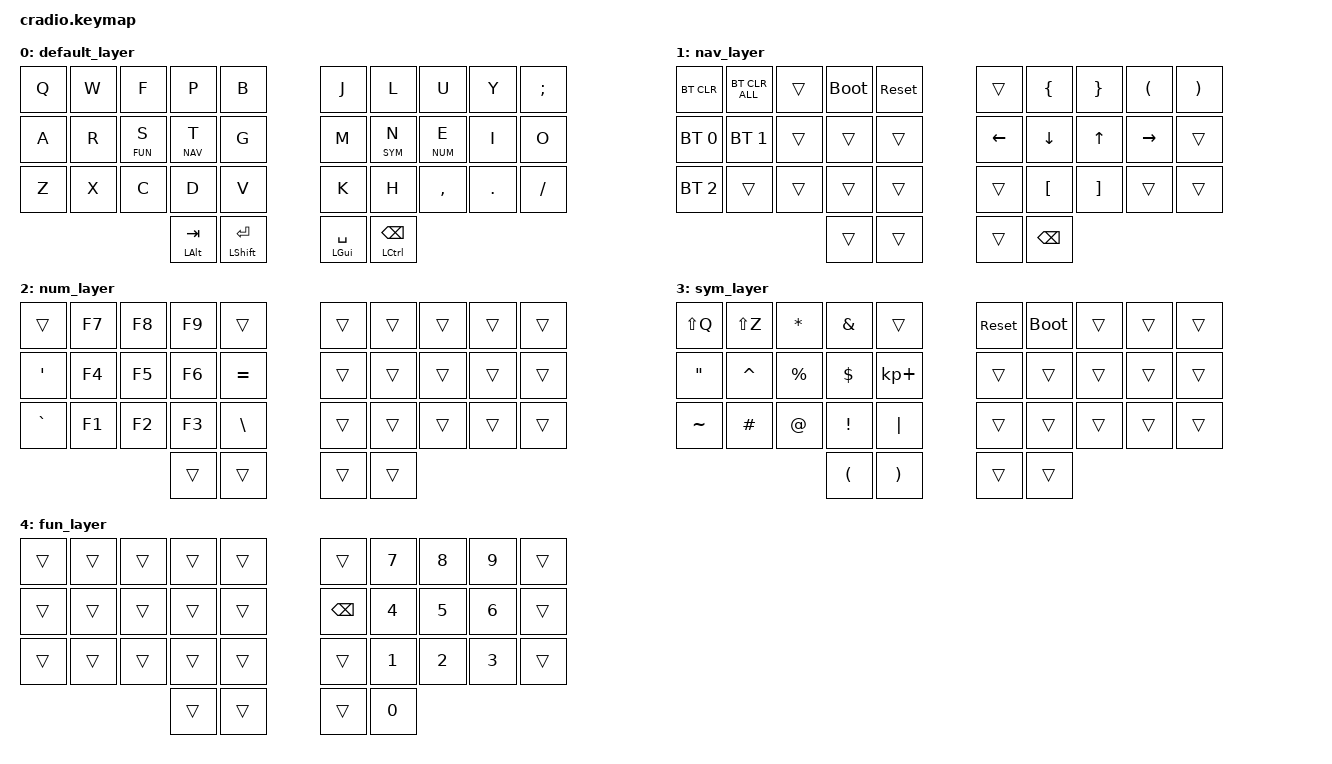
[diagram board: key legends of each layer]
/*
 * Copyright (c) 2020 The ZMK Contributors
 *
 * SPDX-License-Identifier: MIT
 */

#include <behaviors.dtsi>
#include <dt-bindings/zmk/keys.h>
#include <dt-bindings/zmk/bt.h>
#include <dt-bindings/zmk/keys.h>
#include <dt-bindings/zmk/outputs.h>
#include <behaviors.dtsi>

#define DEFAULT 0
#define NAV 1
#define NUM 2
#define SYM 3
#define FUN 4



&mt {
  flavor = "tap-preferred";
  tapping_term_ms = <200>;
  quick_tap_ms = <75>;
};


/ { 

    combos {
        compatible = "zmk,combos";
        combo_caps_word {
            timeout-ms = <100>;
            key-positions = <20 29>;
            bindings = <&caps_word>;
        };
        combo_esc {
            timeout-ms = <150>;
            key-positions = <12 13 16 17>;
            bindings = <&kp ESC>;
        };

        // (
        combo_lpar {
            timeout-ms = <150>;
            key-positions = <4 14>;
            bindings = <&kp LPAR>;
        };

        // )
        combo_rpar {
            timeout-ms = <150>;
            key-positions = <5 15>;
            bindings = <&kp RPAR>;
        };

        // {
        combo_lcurly {
            timeout-ms = <150>;
            key-positions = <3 13>;
            bindings = <&kp LBRC>;
        };
        // }
        combo_rcurly {
            timeout-ms = <150>;
            key-positions = <6 16>;
            bindings = <&kp RBRC>;
        };

        // [
        combo_lsquare {
            timeout-ms = <150>;
            key-positions = <13 23>;
            bindings = <&kp LBKT>;
        };

        // ]
        combo_rsquare {
            timeout-ms = <150>;
            key-positions = <16 26>;
            bindings = <&kp RBKT>;
        };

        // <
        combo_less_than {
            timeout-ms = <150>;
            key-positions = <14 24>;
            bindings = <&kp LT>;
        };

        // >
        combo_greater_than {
            timeout-ms = <150>;
            key-positions = <15 25>;
            bindings = <&kp GT>;
        };

        combo_minus {
            timeout-ms = <150>;
            key-positions = <2 3 6 7>;
            bindings = <&kp MINUS>;
        };
        combo_under {
            timeout-ms = <150>;
            key-positions = <22 23 26 27>;
            bindings = <&kp UNDER>;
        };
        combo_ble {
            timeout-ms = <20>;
            key-positions = <0 1>;
            bindings = <&out OUT_BLE>;
        };
    };

    keymap {
        compatible = "zmk,keymap";
        default_layer {
            bindings = <
                  &kp Q      &kp W       &kp F        &kp P         &kp B                  &kp J              &kp L           &kp U        &kp Y        &kp SCLN
                  &kp A      &kp R       &lt FUN S    &lt NAV T     &kp G                  &kp M              &lt SYM N       &lt NUM E    &kp I        &kp O
                  &kp Z      &kp X       &kp C        &kp D         &kp V                  &kp K              &kp H           &kp CMMA     &kp DOT      &kp FSLH
                                                      &mt LALT TAB  &mt LSHIFT RET           &mt LGUI SPC     &mt LCTRL BSPC
                >;
        };
        nav_layer {
            bindings = <
                &bt BT_CLR   &bt BT_CLR_ALL &trans      &bootloader &sys_reset           &trans      &kp LBRC   &kp RBRC &kp LPAR    &kp RPAR
                &bt BT_SEL 0 &bt BT_SEL 1   &trans      &trans      &trans               &kp LEFT    &kp DOWN   &kp UP   &kp RIGHT   &trans
                &bt BT_SEL 2 &trans &trans  &trans      &trans      &trans               &kp LBKT    &kp RBKT   &trans      &trans
                                                        &trans      &trans               &trans      &kp BSPC
                >;
        };

        num_layer {
            bindings = <
                &trans     &kp F7 &kp F8 &kp F9 &trans                &trans    &trans   &trans &trans    &trans
                &kp SQT    &kp F4 &kp F5 &kp F6 &kp EQUAL             &trans    &trans   &trans &trans    &trans
                &kp GRAVE  &kp F1 &kp F2 &kp F3 &kp BSLH              &trans    &trans   &trans &trans    &trans
                                         &trans &trans                &trans    &trans
                >;
       };

       sym_layer {
            bindings = <
                &kp LS(Q) &kp LS(Z) &kp STAR  &kp AMPS  &trans                &sys_reset &bootloader   &trans &trans    &trans
                &kp DQT   &kp CARET &kp PRCNT &kp DLLR  &kp KP_PLUS           &trans     &trans        &trans &trans    &trans
                &kp TILDE &kp HASH  &kp AT    &kp EXCL  &kp PIPE              &trans     &trans        &trans &trans    &trans
                                              &kp LPAR  &kp RPAR              &trans     &trans
                >;
        };

       fun_layer {
            bindings = <
                &trans &trans &trans &trans &trans        &trans   &kp N7    &kp N8    &kp N9    &trans
                &trans &trans &trans &trans &trans        &kp BSPC &kp N4    &kp N5    &kp N6    &trans
                &trans &trans &trans &trans &trans        &trans   &kp N1    &kp N2    &kp N3    &trans
                                     &trans &trans        &trans   &kp N0
                >;
        };
    };
};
